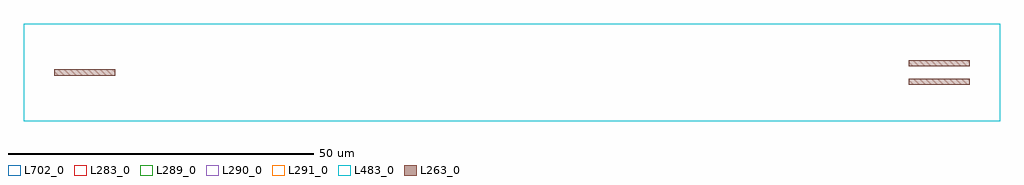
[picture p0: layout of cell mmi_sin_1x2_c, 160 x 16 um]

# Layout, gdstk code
import gdstk
lib = gdstk.Library(unit=1e-6, precision=1e-09)
def R(c, l, rs):  # rectangles x0, y0, x1, y1
    for r in rs: c.add(gdstk.rectangle(r[:2], r[2:], *l))
L263_0 = (263, 0)
L283_0 = (283, 0)
L289_0 = (289, 0)
L290_0 = (290, 0)
L291_0 = (291, 0)
L483_0 = (483, 0)
L702_0 = (702, 0)

mmi_sin_1x2_c = lib.new_cell('mmi_sin_1x2_c')
R(mmi_sin_1x2_c, L263_0, [(140,1,150,2), (0,2.5,10,3.5), (140,4,150,5)])
R(mmi_sin_1x2_c, L283_0, [(-5,-5,155,11)])
R(mmi_sin_1x2_c, L289_0, [(-5,-5,155,11)])
R(mmi_sin_1x2_c, L290_0, [(-5,-5,155,11)])
R(mmi_sin_1x2_c, L291_0, [(-5,-5,155,11)])
R(mmi_sin_1x2_c, L483_0, [(-5,-5,155,11)])
R(mmi_sin_1x2_c, L702_0, [(-5,-5,155,11)])

lib.write_gds('mmi_sin_1x2_c.gds')
